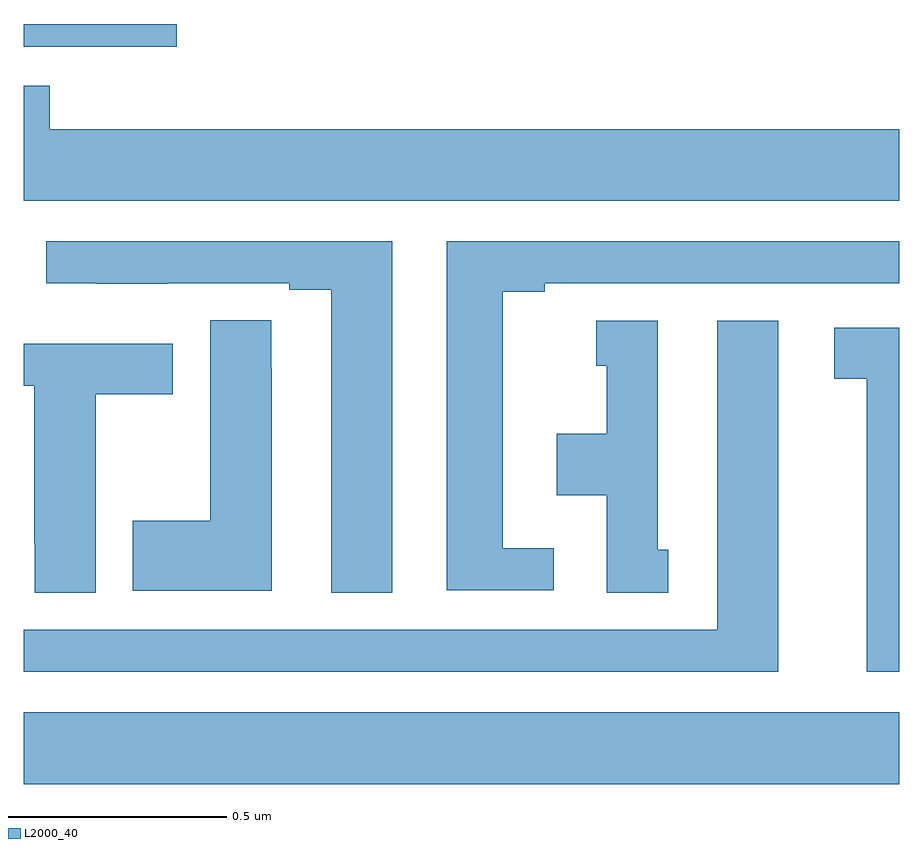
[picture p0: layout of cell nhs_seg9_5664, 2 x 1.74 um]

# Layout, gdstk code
import gdstk
lib = gdstk.Library(unit=1e-6, precision=1e-09)
def R(c, l, rs):  # rectangles x0, y0, x1, y1
    for r in rs: c.add(gdstk.rectangle(r[:2], r[2:], *l))
def P(c, l, *ps):  # polygons
    for p in ps: c.add(gdstk.Polygon(p, *l))
L2000_40 = (2000, 40)

nhs_seg9_5664 = lib.new_cell('nhs_seg9_5664')
R(nhs_seg9_5664, L2000_40, [(182,1185.764,184,1185.928), (182,1187.448,182.35,1187.5)])
P(nhs_seg9_5664, L2000_40, [(184,1187.26),(182.06,1187.26),(182.06,1187.359),(182,1187.359),(182,1187.096),(184,1187.096)],
  [(182.842,1187.004),(182.052,1187.004),(182.052,1186.908),(182.164,1186.908),(182.164,1186.907),(182.33,1186.907),(182.33,1186.908),(182.606,1186.908),(182.606,1186.893),(182.702,1186.893),(182.702,1186.201),(182.842,1186.201)],
  [(183.211,1186.302),(183.094,1186.302),(183.094,1186.888),(183.19,1186.888),(183.19,1186.908),(184,1186.908),(184,1187.004),(182.966,1187.004),(182.966,1186.206),(183.211,1186.206)],
  [(182.566,1186.715),(182.565,1186.715),(182.565,1186.823),(182.426,1186.823),(182.426,1186.365),(182.249,1186.365),(182.249,1186.205),(182.566,1186.205)],
  [(183.472,1186.299),(183.448,1186.299),(183.448,1186.822),(183.308,1186.822),(183.308,1186.719),(183.332,1186.719),(183.332,1186.564),(183.218,1186.564),(183.218,1186.424),(183.332,1186.424),(183.332,1186.201),(183.472,1186.201)],
  [(183.724,1186.822),(183.584,1186.822),(183.584,1186.116),(182,1186.116),(182,1186.02),(183.724,1186.02)],
  [(184,1186.806),(183.852,1186.806),(183.852,1186.69),(183.926,1186.69),(183.926,1186.02),(184,1186.02)],
  [(182.164,1186.654),(182.341,1186.654),(182.341,1186.77),(182,1186.77),(182,1186.674),(182.024,1186.674),(182.024,1186.312),(182.025,1186.312),(182.025,1186.201),(182.164,1186.201)])

lib.write_gds('nhs_seg9_5664.gds')
